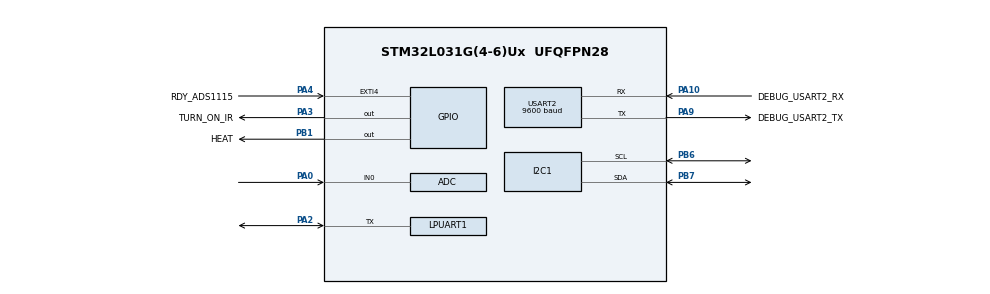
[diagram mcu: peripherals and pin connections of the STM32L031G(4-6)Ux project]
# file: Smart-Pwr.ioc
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ADC.ClockPrescaler=ADC_CLOCK_SYNC_PCLK_DIV1
ADC.DiscontinuousConvMode=ENABLE
ADC.EOCSelection=ADC_EOC_SINGLE_CONV
ADC.Overrun=ADC_OVR_DATA_PRESERVED
ADC.OversamplingMode=ENABLE
ADC.Ratio=ADC_OVERSAMPLING_RATIO_256
ADC.RightBitShift=ADC_RIGHTBITSHIFT_8
ADC.SamplingTime=ADC_SAMPLETIME_39CYCLES_5
ADC.ScanConvMode=ADC_SCAN_DIRECTION_FORWARD
CRC.InputDataFormat=CRC_INPUTDATA_FORMAT_WORDS
I2C1.Speed=50
I2C1.Timing=0x0000061E
LPTIM1.ClockPrescaler=LPTIM_PRESCALER_DIV128
LPTIM1.UpdateMode=LPTIM_UPDATE_ENDOFPERIOD
LPUART1.BaudRate=9600
LPUART1.OneBitSampling=UART_ONE_BIT_SAMPLE_DISABLE
LPUART1.WordLength=UART_WORDLENGTH_8B
Mcu.Family=STM32L0
Mcu.Name=STM32L031G(4-6)Ux
Mcu.Package=UFQFPN28
NVIC.ADC1_COMP_IRQn=true\:0\:0\:false\:false\:true\:true\:true\:true
NVIC.EXTI4_15_IRQn=true\:0\:0\:false\:false\:true\:true\:true\:true
NVIC.LPTIM1_IRQn=true\:0\:0\:false\:false\:true\:true\:true\:true
NVIC.LPUART1_IRQn=true\:0\:0\:false\:false\:true\:true\:true\:true
NVIC.TIM21_IRQn=true\:0\:0\:false\:false\:true\:true\:true\:true
NVIC.TIM22_IRQn=true\:0\:0\:false\:false\:true\:true\:true\:true
NVIC.USART2_IRQn=true\:2\:0\:true\:false\:true\:true\:true\:true
PA0-CK_IN.Mode=IN0
PA0-CK_IN.Signal=ADC_IN0
PA10.GPIO_Label=DEBUG_USART2_RX
PA10.Mode=Asynchronous
PA10.Signal=USART2_RX
PA13.Mode=Serial_Wire
PA13.Signal=SYS_SWDIO
PA14.Mode=Serial_Wire
PA14.Signal=SYS_SWCLK
PA2.Mode=Half_duplex(single_wire_mode)
PA2.Signal=LPUART1_TX
PA3.GPIO_Label=TURN_ON_IR
PA3.Signal=GPIO_Output
PA4.GPIO_Label=RDY_ADS1115
PA4.GPIO_ModeDefaultEXTI=GPIO_MODE_IT_RISING
PA4.Signal=GPXTI4
PA9.GPIO_Label=DEBUG_USART2_TX
PA9.Mode=Asynchronous
PA9.Signal=USART2_TX
PB1.GPIO_Label=HEAT
PB1.GPIO_Speed=GPIO_SPEED_FREQ_LOW
PB1.PinState=GPIO_PIN_SET
PB1.Signal=GPIO_Output
PB6.GPIO_Pu=GPIO_PULLUP
PB6.Mode=I2C
PB6.Signal=I2C1_SCL
PB7.GPIO_Pu=GPIO_PULLUP
PB7.Mode=I2C
PB7.Signal=I2C1_SDA
PC14-OSC32_IN.Mode=LSE-External-Oscillator
PC14-OSC32_IN.Signal=RCC_OSC32_IN
PC15-OSC32_OUT.Mode=LSE-External-Oscillator
PC15-OSC32_OUT.Signal=RCC_OSC32_OUT
ProjectManager.HeapSize=0x200
ProjectManager.StackSize=0x400
ProjectManager.TargetToolchain=STM32CubeIDE
RCC.AHBFreq_Value=2097000
RCC.APB1Freq_Value=2097000
RCC.APB1TimFreq_Value=2097000
RCC.APB2Freq_Value=2097000
RCC.APB2TimFreq_Value=2097000
RCC.HCLKFreq_Value=2097000
RCC.HSE_VALUE=8000000
RCC.HSI16_VALUE=16000000
RCC.HSI_VALUE=16000000
RCC.LSE_Drive_Capability=RCC_LSEDRIVE_LOW
RCC.LptimClockSelection=RCC_LPTIM1CLKSOURCE_LSE
RCC.Lpuart1ClockSelection=RCC_LPUART1CLKSOURCE_LSE
RCC.MSI_VALUE=2097000
RCC.PREFETCH_ENABLE=0
RCC.SYSCLKFreq_VALUE=2097000
RCC.VCOOutputFreq_Value=48000000
TIM2.Period=1000
TIM2.Prescaler=1
TIM21.Channel-Input_Capture1_from_TI1_REMAP_TIM21=TIM_CHANNEL_1
TIM21.ICPrescaler-Input_Capture1_from_TI1_REMAP_TIM21=TIM_ICPSC_DIV8
TIM21.TIM21_TI1_REMAP=TIM21_TI1_LSE
TIM22.AutoReloadPreload=TIM_AUTORELOAD_PRELOAD_DISABLE
TIM22.Channel-Output\ Compare1\ No\ Output=TIM_CHANNEL_1
TIM22.Period=1911
TIM22.Prescaler=4
TIM22.Pulse-Output\ Compare1\ No\ Output=1911
USART2.BaudRate=9600
USART2.VirtualMode-Asynchronous=VM_ASYNC
VP_ADC_TempSens_Input.Mode=IN-TempSens
VP_ADC_Vref_Input.Mode=IN-Vrefint
VP_CRC_VS_CRC.Mode=CRC_Activate
VP_LPTIM1_VS_LPTIM_counterModeInternalClock.Mode=Counts__internal_clock_event_00
VP_TIM21_VS_NoInput1.Mode=Input_Capture1_from_TI1_REMAP_TIM21
VP_TIM22_VS_ClockSourceINT.Mode=Internal
VP_TIM22_VS_OPM.Mode=OPM_bit
VP_TIM22_VS_no_output1.Mode=Output Compare1 No Output
VP_TIM2_VS_ClockSourceINT.Mode=Internal
board=custom

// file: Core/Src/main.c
/* USER CODE BEGIN Header */
//===============================================================================
//
//
//
//
//	main.c
//                                                   				  03.09.2021
//
//==============================================================================

/* USER CODE END Header */
#include "main.h"
#include "adc.h"
#include "crc.h"
#include "i2c.h"
#include "lptim.h"
#include "usart.h"
#include "tim.h"
#include "gpio.h"

/* USER CODE BEGIN Includes */
#include "tim.h"
#include "defines.h"
//#include "string.h"
#include "debug.h"
#include "lmp91000.h"
#include "ADS1115.h"
#include "device.h"
#include "modbus_lpuart.h"
#include "modbus.h"
#include "Mipex_command.h"
#include "eeprom.h"
#include "flash.h"
#include "arhiv.h"
#include "calculations.h"

/* USER CODE END Includes */

/* USER CODE BEGIN PV */

char date[13] = { __DATE__ };
char time[9] = { __TIME__ };

/* USER CODE END PV */

void SystemClock_Config(void);

/* USER CODE BEGIN 0 */

void printUID(void){
#ifdef DEBUG_MY
	uint32_t *idBase = (uint32_t*)(UID_BASE);
	uint8_t s[4];
	int i;
	//memcpy(s0,(uint8_t*)idBase0,3);
	for(i = 0; i < 3; i++)
		s[2-i] = (*idBase >> (8 * i)) & 0xff;
	s[3]= 0;

	uint32_t *idBase2 = (uint32_t*)(UID_BASE + 0x04);
	uint8_t s2[5];

	for(i = 0; i < 4; i++)
		s2[3-i] = (*idBase2 >> (8 * i)) & 0xff;
	s2[4]= 0;

	idBase = (uint32_t*)(UID_BASE + 0x14);

	d_printf("\n\rUID %02X-\"%s\"-\"%s\"-%08lx", (*idBase >> 24) & 0xff, s, s2, *idBase2);
#endif
}

/* USER CODE END 0 */

int main(void)
{

  /* MCU Configuration--------------------------------------------------------*/

  /* Reset of all peripherals, Initializes the Flash interface and the Systick. */
  LL_APB2_GRP1_EnableClock(LL_APB2_GRP1_PERIPH_SYSCFG);
  LL_APB1_GRP1_EnableClock(LL_APB1_GRP1_PERIPH_PWR);

  /* Configure the system clock */
  SystemClock_Config();

  /* USER CODE BEGIN SysInit */
  SysTick->CTRL |= SysTick_CTRL_TICKINT_Msk;
  /* USER CODE END SysInit */

  /* Initialize all configured peripherals */
  MX_GPIO_Init();
  MX_ADC_Init();
  MX_I2C1_Init();
  MX_LPUART1_UART_Init();
  MX_USART2_UART_Init();
  MX_TIM22_Init();
  MX_CRC_Init();
  MX_TIM21_Init();
  MX_LPTIM1_Init();
  MX_TIM2_Init();
  /* USER CODE BEGIN 2 */

#ifdef DEBUG_MY
  	debug_init();
	d_printf("\n\r\n\r%s %s", date, time);
	printUID();
#endif

	//LL_ADC_SetCommonPathInternalCh(__LL_ADC_COMMON_INSTANCE(ADC1), LL_ADC_PATH_INTERNAL_TEMPSENSOR);
	ADC1_COMMON->CCR |= LL_ADC_PATH_INTERNAL_TEMPSENSOR;

	LL_ADC_StartCalibration(ADC1);
	while (LL_ADC_IsCalibrationOnGoing(ADC1) != 0);
	LL_mDelay(2);

	read_config_from_eeprom();
	dev_init();

#ifdef DEBUG_MY
	d_printf("\n\rSN %09lu", dev.Config.Serial);
	d_printf("\n\r");
#endif

	//  test_temp_korr();
#ifdef CONFIG_PI
	SET_TURN_ON;
	LL_mDelay(500);
#endif
	modbus_init();
	///000
#ifdef CONFIG_EC
	LMP_Init();
	LMP_Set_Mode(MODE_TEMPERAT);
#endif
	///000
#if defined(CONFIG_PI) || defined(CONFIG_FID)
	ADS_Init(dev.Config.FID);
#endif
	LL_TIM_EnableCounter(TIM2);

	LL_ADC_Enable(ADC1);
	LL_ADC_EnableIT_EOC(ADC1);

	LL_TIM_EnableIT_CC1(TIM22);

	LL_LPTIM_Enable(LPTIM1);
	// От LSE 32.768 (прескалер 128) с делением на 2
	LL_LPTIM_SetAutoReload(LPTIM1, 1);
	LL_LPTIM_EnableIT_ARRM(LPTIM1);
	LL_LPTIM_StartCounter(LPTIM1, LL_LPTIM_OPERATING_MODE_CONTINUOUS);

	HourTimer = CntSec;

	///000
#ifdef CONFIG_MIPEX
	Mipex_Init();
#endif
  /* USER CODE END 2 */

  /* Infinite loop */
  /* USER CODE BEGIN WHILE */
	while (1)
	{
		mb_proc();
#ifdef CONFIG_PI
		// Прогрев и включение термокаталики
		heat_proc();
#endif
		if(f_Time500ms){

			f_Time500ms = FALSE;

			dev_proc();
			///000
#ifdef CONFIG_EC
			lmp_proc();
#endif
		}

		if(f_Time250ms){

			f_Time250ms = FALSE;

#ifdef DEBUG_ADC_TIME
#ifdef DEBUG_MY
			if(!lmp_tia_or_temper)
				d_printf("\n");
			else
				d_printf("\r");
#endif
#endif

#ifdef CONFIG_PI
			if(!(dev.Status & (1 << STATUS_BIT_MAIN_INIT))){
				LL_ADC_REG_StartConversion(ADC1);
			}
#else
			LL_ADC_REG_StartConversion(ADC1);
#endif

		}

		if(f_AdcCycleEnd){

			f_AdcCycleEnd = FALSE;
#ifdef CONFIG_EC
			if(!f_AdcDataBad)
				Adc_read_data();
			f_AdcDataBad = FALSE;
#else
			Adc_read_data();
#endif
		}

		if((uint32_t)(CntSec - HourTimer) >= SEC_PER_MHOUR){

			HourTimer = CntSec;

			arh.MHour++;

			if((arh.MHour % 24) == 0){
				DayArhivStore();
			}

		}

    /* USER CODE END WHILE */

	}
}

void SystemClock_Config(void)
{
  LL_FLASH_SetLatency(LL_FLASH_LATENCY_0);
  while(LL_FLASH_GetLatency()!= LL_FLASH_LATENCY_0)
  {
  }
  LL_PWR_SetRegulVoltageScaling(LL_PWR_REGU_VOLTAGE_SCALE1);
  LL_RCC_MSI_Enable();

   /* Wait till MSI is ready */
  while(LL_RCC_MSI_IsReady() != 1)
  {

  }
  LL_RCC_MSI_SetRange(LL_RCC_MSIRANGE_5);
  LL_RCC_MSI_SetCalibTrimming(0);
  LL_PWR_EnableBkUpAccess();
  LL_RCC_LSE_SetDriveCapability(LL_RCC_LSEDRIVE_LOW);
  LL_RCC_LSE_Enable();

   /* Wait till LSE is ready */
  while(LL_RCC_LSE_IsReady() != 1)
  {

  }
  LL_RCC_SetAHBPrescaler(LL_RCC_SYSCLK_DIV_1);
  LL_RCC_SetAPB1Prescaler(LL_RCC_APB1_DIV_1);
  LL_RCC_SetAPB2Prescaler(LL_RCC_APB2_DIV_1);
  LL_RCC_SetSysClkSource(LL_RCC_SYS_CLKSOURCE_MSI);

   /* Wait till System clock is ready */
  while(LL_RCC_GetSysClkSource() != LL_RCC_SYS_CLKSOURCE_STATUS_MSI)
  {

  }

  LL_Init1msTick(2097000);

  LL_SetSystemCoreClock(2097000);
  LL_RCC_SetUSARTClockSource(LL_RCC_USART2_CLKSOURCE_PCLK1);
  LL_RCC_SetLPUARTClockSource(LL_RCC_LPUART1_CLKSOURCE_LSE);
  LL_RCC_SetI2CClockSource(LL_RCC_I2C1_CLKSOURCE_PCLK1);
  LL_RCC_SetLPTIMClockSource(LL_RCC_LPTIM1_CLKSOURCE_LSE);
}

void Error_Handler(void)
{
	__disable_irq();
	while (1)
	{
	}
}
